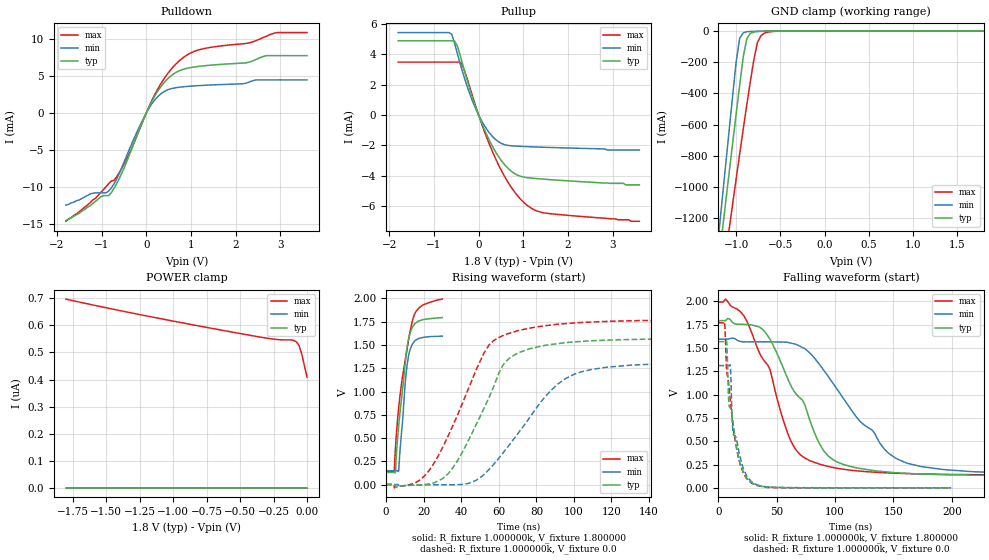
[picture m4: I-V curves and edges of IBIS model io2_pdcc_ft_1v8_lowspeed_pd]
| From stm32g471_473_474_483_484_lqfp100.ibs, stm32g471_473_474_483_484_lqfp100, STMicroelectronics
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|   Model io2_pdcc_ft_1v8_lowspeed_pd
[Model]  io2_pdcc_ft_1v8_lowspeed_pd
Model_type I/O
Polarity   Non-Inverting
Enable   Active-Low
Vinl =   0.540000V
Vinh =   1.260000V
Vmeas =  0.900000V
Cref =   50.000000pF
Rref =   100.000000M
Vref =   0.0V
C_comp   4.366800pF   3.639100pF   5.105000pF
[Temperature Range]   25.000000   -40.000000   0.125000k
[Pullup Reference]   1.800000V   1.600000V   2.000000V
[Pulldown Reference]   0.0V   0.0V   0.0V
[POWER Clamp Reference]   1.800000V   1.600000V   2.000000V
[GND Clamp Reference]   0.0V   0.0V   0.0V
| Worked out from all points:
|   slope of the pulldown table from 0 to 0.27 V, typ, clamps not added: 87.5 ohm
|   slope of the pullup table from 0 to 0.27 V, typ, clamps not added: 147 ohm
|   GND clamp passes 1 mA (typ) near -0.58 V on its own axis
|   rising waveform, R_fixture 1.000000k, V_fixture 1.800000: 20-80 % time 5.09ns typ, 3.64ns min, 7.2ns max; typ from 0.131 V to 1.79 V
|   rising waveform, R_fixture 1.000000k, V_fixture 0.0: 20-80 % time 21.8ns typ, 30.6ns min, 23.3ns max; typ from 0 V to 1.57 V
|   falling waveform, R_fixture 1.000000k, V_fixture 1.800000: 20-80 % time 37.6ns typ, 53.2ns min, 32.1ns max; typ from 1.79 V to 0.131 V
|   falling waveform, R_fixture 1.000000k, V_fixture 0.0: 20-80 % time 9.53ns typ, 8.92ns min, 10.2ns max; typ from 1.57 V to 0 V
[Pulldown]
|Voltage   I(typ)   I(min)   I(max)
-1.8V     -14.6mA    -12.5mA    -14.7mA
-1.14V    -12mA      -10.84mA   -11.6mA
-900mV    -11.21mA   -10.84mA   -10mA
-780mV    -10.79mA   -10.16mA   -9.24mA
-480mV    -7.221mA   -6.409mA   -6.723mA
60mV      806.3uA    646.5uA    843.8uA
300mV     3.356mA    2.463mA    3.703mA
600mV     5.259mA    3.369mA    6.249mA
1.2V      6.348mA    3.729mA    8.613mA
2.28V     6.865mA    4.147mA    9.488mA
2.94V     7.795mA    4.497mA    10.92mA
3.6V      7.795mA    4.497mA    10.92mA
[Pullup]
|Voltage   I(typ)   I(min)   I(max)
-1.8V     4.888mA    5.43mA     3.487mA
-660mV    4.888mA    5.43mA     3.487mA
-540mV    4.888mA    4.748mA    3.487mA
-420mV    4.008mA    3.449mA    3.487mA
-300mV    2.736mA    2.275mA    2.791mA
-120mV    1.005mA    795.6uA    1.088mA
180mV     -1.289mA   -926.4uA   -1.468mA
480mV     -2.883mA   -1.823mA   -3.482mA
840mV     -3.912mA   -2.048mA   -5.199mA
1.14V     -4.142mA   -2.089mA   -6.059mA
1.44V     -4.22mA    -2.122mA   -6.431mA
3.6V      -4.6mA     -2.3mA     -7mA
[GND_clamp]
|Voltage   I(typ)   I(min)   I(max)
-1.8V     -4.43A     -4.747A    -4.297A
-1.2V     -1.489A    -1.316A    -1.768A
-1.16V    -1.295A    -1.089A    -1.601A
-1.12V    -1.102A    -863.2mA   -1.436A
-1.08V    -909.9mA   -638.7mA   -1.271A
-1V       -530.7mA   -197.2mA   -945.5mA
-960mV    -345.6mA   -47.18mA   -785.2mA
-920mV    -166.1mA   -12.67mA   -627.5mA
-880mV    -50.55mA   -5.887mA   -473.7mA
-760mV    -4.794mA   -2.408mA   -75.33mA
-680mV    -2.54mA    -1.109mA   -14.52mA
1.8V      47.27uA    33.85uA    59.61uA
[POWER_clamp]
|Voltage   I(typ)   I(min)   I(max)
-1.8V     0A         0A         696.8nA
-1.22V    0A         0A         637nA
-520mV    0A         0A         571.6nA
-260mV    0A         0A         549.8nA
-200mV    0A         0A         546.8nA
-120mV    0A         0A         546.1nA
-100mV    0A         0A         544.2nA
-80mV     0A         0A         539.2nA
-60mV     0A         0A         525.8nA
-40mV     0A         0A         495.9nA
-20mV     0A         0A         451.3nA
0V        0A         0A         408.6nA
[Ramp]
| variable   typ   min   max
dV/dt_r  1.06266/11.90098n   0.94032/12.94450n   1.18169/13.45849n
dV/dt_f  1.06877/31.91585n   0.94819/43.06647n   1.18725/26.02144n
R_load = 10.000000k
[Rising Waveform]
R_fixture= 1.000000k
V_fixture= 1.800000
V_fixture_min= 1.600000
V_fixture_max= 2.000000
|time   V(typ)   V(min)   V(max)
0s        130.7mV    148.2mV    137.7mV
4.264ns   130.7mV    148.1mV    139.4mV
4.985ns   142.4mV    148.2mV    403mV
6.667ns   631.8mV    147.1mV    821.7mV
8.468ns   974mV      620.8mV    1.125V
10.75ns   1.414V     1.216V     1.409V
11.95ns   1.565V     1.385V     1.553V
13.57ns   1.676V     1.491V     1.725V
17.66ns   1.76V      1.572V     1.903V
29.91ns   1.795V     1.595V     1.993V
[Rising Waveform]
R_fixture= 1.000000k
V_fixture= 0.0
V_fixture_min= 0.0
V_fixture_max= 0.0
|time   V(typ)   V(min)   V(max)
0s        29.98nV    26.18nV    13.16uV
18.42ns   -3.925mV   -4.482mV   55.24mV
25.23ns   15.98mV    -2.836mV   221.2mV
32.83ns   112.7mV    -1.95mV    514.7mV
52.05ns   818.1mV    107.6mV    1.412V
63.26ns   1.311V     365.9mV    1.61V
84.88ns   1.497V     948.3mV    1.707V
100.5ns   1.533V     1.189V     1.737V
130.1ns   1.559V     1.283V     1.76V
199.4ns   1.569V     1.312V     1.772V
[Falling Waveform]
R_fixture= 1.000000k
V_fixture= 1.800000
V_fixture_min= 1.600000
V_fixture_max= 2.000000
|time   V(typ)   V(min)   V(max)
0s        1.795V     1.595V     1.993V
20.02ns   1.754V     1.568V     1.873V
40.04ns   1.67V      1.566V     1.35V
66.07ns   1.015V     1.542V     414.3mV
74.07ns   891.4mV    1.492V     320.6mV
88.09ns   440.8mV    1.299V     248.6mV
100.1ns   288.6mV    1.087V     213.1mV
146.1ns   168.7mV    367.9mV    159.5mV
194.2ns   141.6mV    195.1mV    144.5mV
997ns     130.7mV    148.2mV    137.7mV
[Falling Waveform]
R_fixture= 1.000000k
V_fixture= 0.0
V_fixture_min= 0.0
V_fixture_max= 0.0
|time   V(typ)   V(min)   V(max)
0s        1.569V     1.312V     1.772V
5.205ns   1.569V     1.312V     1.782V
6.807ns   1.581V     1.312V     1.286V
7.608ns   1.408V     1.312V     1.206V
8.809ns   913.4mV    1.312V     1.113V
10.01ns   860.1mV    1.32V      959.1mV
12.41ns   706.8mV    591mV      678.1mV
18.82ns   250.7mV    314.9mV    242.7mV
28.43ns   55.91mV    64.62mV    51.25mV
199.4ns   29.98nV    26.18nV    13.16uV
